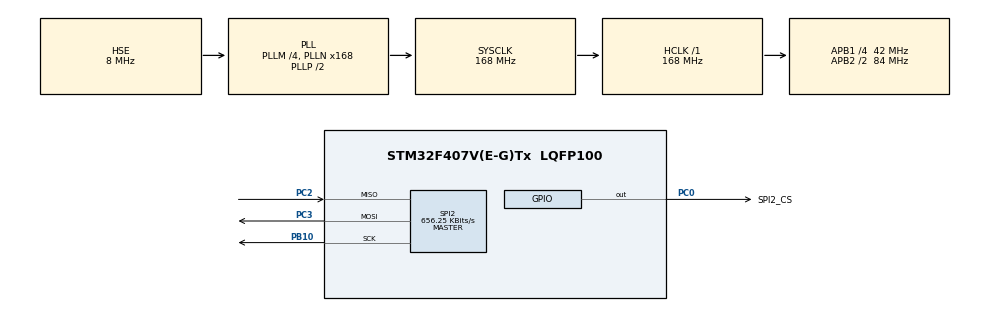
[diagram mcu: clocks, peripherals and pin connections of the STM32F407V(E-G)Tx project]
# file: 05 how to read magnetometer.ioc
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Mcu.Family=STM32F4
Mcu.Name=STM32F407V(E-G)Tx
Mcu.Package=LQFP100
NVIC.PriorityGroup=NVIC_PRIORITYGROUP_0
NVIC.TIM1_BRK_TIM9_IRQn=true\:0\:0\:false\:false\:true\:true\:true\:true
PA13.Mode=Serial_Wire
PA13.Signal=SYS_JTMS-SWDIO
PA14.Mode=Serial_Wire
PA14.Signal=SYS_JTCK-SWCLK
PB10.Mode=Full_Duplex_Master
PB10.Signal=SPI2_SCK
PB3.Signal=SYS_JTDO-SWO
PC0.GPIO_Label=SPI2_CS
PC0.PinState=GPIO_PIN_SET
PC0.Signal=GPIO_Output
PC2.Mode=Full_Duplex_Master
PC2.Signal=SPI2_MISO
PC3.Mode=Full_Duplex_Master
PC3.Signal=SPI2_MOSI
PH0-OSC_IN.Mode=HSE-External-Oscillator
PH0-OSC_IN.Signal=RCC_OSC_IN
PH1-OSC_OUT.Mode=HSE-External-Oscillator
PH1-OSC_OUT.Signal=RCC_OSC_OUT
ProjectManager.HeapSize=0x200
ProjectManager.StackSize=0x400
ProjectManager.TargetToolchain=STM32CubeIDE
RCC.48MHZClocksFreq_Value=48000000
RCC.AHBFreq_Value=168000000
RCC.APB1CLKDivider=RCC_HCLK_DIV4
RCC.APB1Freq_Value=42000000
RCC.APB1TimFreq_Value=84000000
RCC.APB2CLKDivider=RCC_HCLK_DIV2
RCC.APB2Freq_Value=84000000
RCC.APB2TimFreq_Value=168000000
RCC.CortexFreq_Value=168000000
RCC.HCLKFreq_Value=168000000
RCC.HSE_VALUE=8000000
RCC.HSI_VALUE=16000000
RCC.LSE_VALUE=32768
RCC.PLLM=4
RCC.PLLN=168
RCC.PLLQ=7
RCC.PLLSourceVirtual=RCC_PLLSOURCE_HSE
RCC.SYSCLKFreq_VALUE=168000000
RCC.SYSCLKSource=RCC_SYSCLKSOURCE_PLLCLK
RCC.VCOOutputFreq_Value=336000000
SPI2.BaudRatePrescaler=SPI_BAUDRATEPRESCALER_64
SPI2.CLKPhase=SPI_PHASE_2EDGE
SPI2.CLKPolarity=SPI_POLARITY_HIGH
SPI2.CalculateBaudRate=656.25 KBits/s
SPI2.Direction=SPI_DIRECTION_2LINES
SPI2.Mode=SPI_MODE_MASTER
SPI2.VirtualType=VM_MASTER
TIM9.Period=9999
TIM9.Prescaler=167
VP_TIM9_VS_ClockSourceINT.Mode=Internal
board=STM32F407G-DISC1

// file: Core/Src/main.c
/* USER CODE BEGIN Header */
/**
  ******************************************************************************
  * @file           : main.c
  * @brief          : Main program body
  ******************************************************************************
  * @attention
  *
  * Copyright (c) 2024 STMicroelectronics.
  * All rights reserved.
  *
  * This software is licensed under terms that can be found in the LICENSE file
  * in the root directory of this software component.
  * If no LICENSE file comes with this software, it is provided AS-IS.
  *
  ******************************************************************************
  */
/* USER CODE END Header */
#include "main.h"
#include "spi.h"
#include "tim.h"
#include "gpio.h"

/* USER CODE BEGIN Includes */
#include "mpu9250.h"
#include "stdio.h"
/* USER CODE END Includes */

/* USER CODE BEGIN PV */
int sum_gyro_x, sum_gyro_y, sum_gyro_z;
/* USER CODE END PV */

void SystemClock_Config(void);
/* USER CODE BEGIN PFP */
void mpu_callback(void);
/* USER CODE END PFP */

/* USER CODE BEGIN 0 */

mpu_data imu_data;
/* USER CODE END 0 */

int main(void)
{

  /* MCU Configuration--------------------------------------------------------*/

  /* Reset of all peripherals, Initializes the Flash interface and the Systick. */
  HAL_Init();

  /* Configure the system clock */
  SystemClock_Config();

  /* Initialize all configured peripherals */
  MX_GPIO_Init();
  MX_SPI2_Init();
  MX_TIM9_Init();
  /* USER CODE BEGIN 2 */
  mpu_init();
  /* USER CODE END 2 */

  /* Infinite loop */
  /* USER CODE BEGIN WHILE */
  while (1)
  {

		//sum_gyro_x += imu_data.x_gyro;
		//sum_gyro_y += imu_data.y_gyro;
		//sum_gyro_z += imu_data.z_gyro;

	 //printf("Accelero : %d, %d, and %d \n", imu_data.x_accel, imu_data.y_accel, imu_data.z_accel);
	 //printf("Gyro : %d, %d, and %d \n", imu_data.x_gyro, imu_data.y_gyro, imu_data.z_gyro);
	// printf("Magneto : %d, %d, and %d \n", imu_data.x_mag, imu_data.y_mag, imu_data.z_mag);

    /* USER CODE END WHILE */

  }
}

void SystemClock_Config(void)
{
  RCC_OscInitTypeDef RCC_OscInitStruct = {0};
  RCC_ClkInitTypeDef RCC_ClkInitStruct = {0};

  /** Configure the main internal regulator output voltage
  */
  __HAL_RCC_PWR_CLK_ENABLE();
  __HAL_PWR_VOLTAGESCALING_CONFIG(PWR_REGULATOR_VOLTAGE_SCALE1);

  /** Initializes the RCC Oscillators according to the specified parameters
  * in the RCC_OscInitTypeDef structure.
  */
  RCC_OscInitStruct.OscillatorType = RCC_OSCILLATORTYPE_HSE;
  RCC_OscInitStruct.HSEState = RCC_HSE_ON;
  RCC_OscInitStruct.PLL.PLLState = RCC_PLL_ON;
  RCC_OscInitStruct.PLL.PLLSource = RCC_PLLSOURCE_HSE;
  RCC_OscInitStruct.PLL.PLLM = 4;
  RCC_OscInitStruct.PLL.PLLN = 168;
  RCC_OscInitStruct.PLL.PLLP = RCC_PLLP_DIV2;
  RCC_OscInitStruct.PLL.PLLQ = 7;
  if (HAL_RCC_OscConfig(&RCC_OscInitStruct) != HAL_OK)
  {
    Error_Handler();
  }

  /** Initializes the CPU, AHB and APB buses clocks
  */
  RCC_ClkInitStruct.ClockType = RCC_CLOCKTYPE_HCLK|RCC_CLOCKTYPE_SYSCLK
                              |RCC_CLOCKTYPE_PCLK1|RCC_CLOCKTYPE_PCLK2;
  RCC_ClkInitStruct.SYSCLKSource = RCC_SYSCLKSOURCE_PLLCLK;
  RCC_ClkInitStruct.AHBCLKDivider = RCC_SYSCLK_DIV1;
  RCC_ClkInitStruct.APB1CLKDivider = RCC_HCLK_DIV4;
  RCC_ClkInitStruct.APB2CLKDivider = RCC_HCLK_DIV2;

  if (HAL_RCC_ClockConfig(&RCC_ClkInitStruct, FLASH_LATENCY_5) != HAL_OK)
  {
    Error_Handler();
  }
}

/* USER CODE BEGIN 4 */

int _write(int file, char *ptr, int len)
{
	int DataIdx;
	for(DataIdx = 0; DataIdx < len; DataIdx++)
		ITM_SendChar(*ptr++);
	return len;
}

void mpu_callback(void)
{
	mpu_read_sensor(&imu_data);
	sum_gyro_x += imu_data.x_gyro;
	sum_gyro_y += imu_data.y_gyro;
	sum_gyro_z += imu_data.z_gyro;
}

/* USER CODE END 4 */

void Error_Handler(void)
{
  __disable_irq();
  while (1)
  {
  }
}
